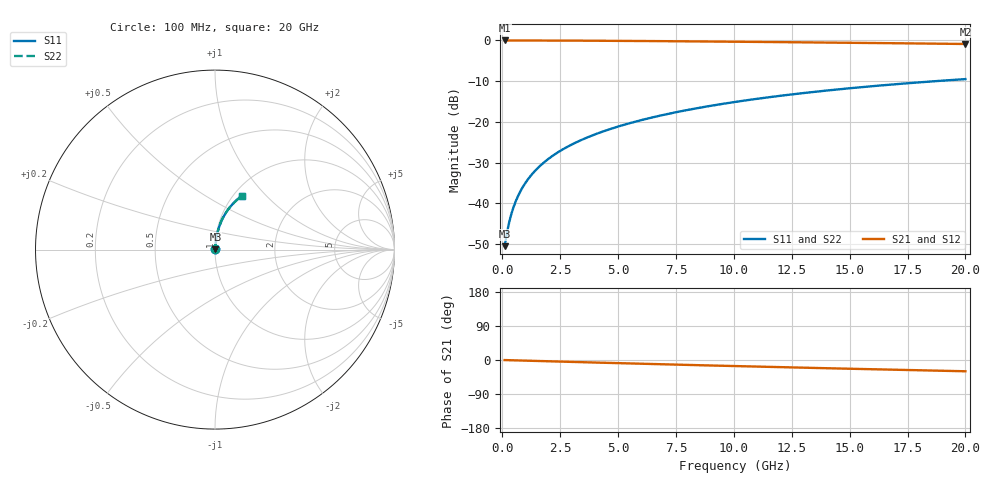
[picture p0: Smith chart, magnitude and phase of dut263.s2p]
! Touchstone file exported from HFSS 2024.1.0
!  File:  C:/UserFiles/LocalFiles/RDL_TSV_Batchsim/temp_RDL_top_263_1778689350.aedt
!  Generated:  12:24:52 AM May 14, 2026
!  Design:  RDL_top
!  Project:  temp_RDL_top_263_1778689350
!  Setup:  Setup1
!  Solution:  Sweep
! Variables:
!  dtsv = 10.80580581um
!  hbump = 3um
!  htsv = 68.89um
!  ldown = 100um
!  lrdl = 390.29um
!  p = 40
!  p1 = 44.35um
!  rhole = 1um
!  t = 450um
!  tdown = 3.915915916um
!  trdl = 4.45um
!  wdown = 15.38538539um
!  wrdl = 13.9um
# GHz S MA R 50.000000
! Terminal data exported
! Port[1] = Box2_T1
! Port[2] = Box2_T2
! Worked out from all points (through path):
!   200 points, 100 MHz to 20 GHz, reference 50 ohm
!   highest |S21| = -0.02 dB at 100 MHz (marker M1); lowest = -0.9 dB at 20 GHz (marker M2)
!   group delay of S21, straight-line fit = 4.12 ps
!   lowest |S11| = -50.5 dB at 100 MHz (marker M3), VSWR 1.01, Z = 50.2 + j0.184 ohm
!   |S11| at or under -10 dB: start of sweep to 18.74 GHz
!   |S22| runs from -50.5 to -9.5 dB; largest |S21 - S12| = 3.5e-15
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0.1  0.002974 38.1  0.9977 -0.2  0.9977 -0.2  0.002974 38.1
! Gamma 0 0 0 0
! Port Impedance 50 0 50 0
0.2  0.004337 56.2  0.9976 -0.3  0.9976 -0.3  0.004337 56.2
0.3  0.005893 65.3  0.9975 -0.5  0.9975 -0.5  0.005892 65.3
0.4  0.007528 70.5  0.9974 -0.7  0.9974 -0.7  0.007527 70.5
0.5  0.009205 73.8  0.9973 -0.9  0.9973 -0.9  0.009205 73.8
0.6  0.01091 76.1  0.9972 -1.0  0.9972 -1.0  0.01091 76.1
0.8  0.01435 79.0  0.997 -1.4  0.997 -1.4  0.01435 79.0
1.1  0.01955 81.2  0.9967 -1.9  0.9967 -1.9  0.01955 81.2
1.5  0.02652 82.6  0.9962 -2.5  0.9962 -2.5  0.02652 82.6
1.8  0.03175 83.1  0.9957 -3.0  0.9957 -3.0  0.03175 83.1
2.1  0.03697 83.3  0.9952 -3.6  0.9952 -3.6  0.03697 83.3
2.7  0.04741 83.4  0.9938 -4.6  0.9938 -4.6  0.04741 83.4
3.5  0.06133 83.2  0.9916 -5.9  0.9916 -5.9  0.06133 83.2
4.2  0.07351 82.7  0.9894 -7.0  0.9894 -7.0  0.07351 82.7
5  0.08745 82.1  0.9865 -8.3  0.9865 -8.3  0.08745 82.1
5.9  0.1032 81.3  0.9828 -9.7  0.9828 -9.7  0.1032 81.3
6.8  0.1189 80.3  0.9789 -11.1  0.9789 -11.1  0.1189 80.3
8.3  0.145 78.6  0.9717 -13.4  0.9717 -13.4  0.145 78.6
10.1  0.1762 76.4  0.9624 -16.1  0.9624 -16.1  0.1762 76.4
13.4  0.2321 72.1  0.944 -20.9  0.944 -20.9  0.2321 72.1
16.7  0.2852 67.7  0.924 -25.4  0.924 -25.4  0.2852 67.7
20  0.3347 63.4  0.9031 -29.8  0.9031 -29.8  0.3347 63.4
